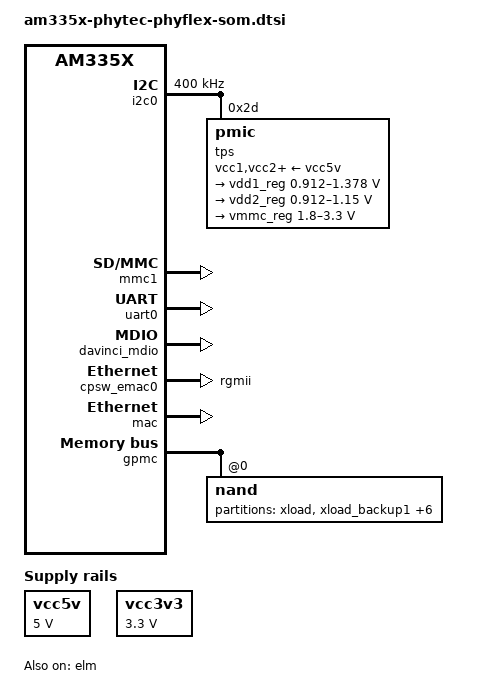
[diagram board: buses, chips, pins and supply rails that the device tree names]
/ {
	chosen {
		stdout-path = &uart0;

		environment-spi {
			compatible = "barebox,environment";
			device-path = &flash, "partname:bareboxenv";
			status = "disabled";
		};

		environment-nand {
			compatible = "barebox,environment";
			device-path = &nand, "partname:bareboxenv";
			status = "disabled";
		};
	};

	vcc5v: fixedregulator@0 {
		compatible = "regulator-fixed";
		regulator-name = "vcc5v";
		regulator-min-microvolt = <5000000>;
		regulator-max-microvolt = <5000000>;
		regulator-boot-on;
	};

	vcc3v3: fixedregulator@1 {
		compatible = "regulator-fixed";
		regulator-min-microvolt = <3300000>;
		regulator-max-microvolt = <3300000>;
		regulator-boot-on;
	};

};

&am33xx_pinmux {
	i2c0_pins: pinmux_i2c0_pins {
			pinctrl-single,pins = <
			0x188 (PIN_INPUT_PULLUP | MUX_MODE0)    /* i2c0_sda */
			0x18c (PIN_INPUT_PULLUP | MUX_MODE0)    /* i2c0_scl */
		>;
	};

	spi0_pins: pinmux_spi0_pins {
		pinctrl-single,pins = <
			0x150 (PIN_INPUT_PULLDOWN | MUX_MODE0)  /* spi0_clk.spi0_clk */
			0x154 (PIN_INPUT_PULLDOWN | MUX_MODE0)  /* spi0_d0.spi0_d0 */
			0x158 (PIN_INPUT_PULLUP | MUX_MODE0)    /* spi0_d1.spi0_d1 */
			0x15c (PIN_INPUT_PULLUP | MUX_MODE0)	/* spi0_cs0.spi0_cs0 */
		>;
	};

	uart0_pins: pinmux_uart0_pins {
		pinctrl-single,pins = <
			0x170 (PIN_INPUT_PULLUP | MUX_MODE0)    /* uart0_rxd */
			0x174 (PIN_OUTPUT_PULLDOWN | MUX_MODE0) /* uart0_txd */
		>;
	};

	mmc1_pins: pinmux_mmc1_pins {
		pinctrl-single,pins = <
			0x0f0 (PIN_INPUT_PULLUP | MUX_MODE0)	/* mmc0_dat3 */
			0x0f4 (PIN_INPUT_PULLUP | MUX_MODE0)	/* mmc0_dat2 */
			0x0f8 (PIN_INPUT_PULLUP | MUX_MODE0)	/* mmc0_dat1 */
			0x0fc (PIN_INPUT_PULLUP | MUX_MODE0)	/* mmc0_dat0 */
			0x100 (PIN_INPUT_PULLUP | MUX_MODE0)	/* mmc0_clk */
			0x104 (PIN_INPUT_PULLUP | MUX_MODE0)	/* mmc0_cmd */
		>;
	};

	emac_rgmii1_pins: pinmux_emac_rgmii1_pins {
		pinctrl-single,pins = <
			0x114 (PIN_OUTPUT_PULLDOWN | MUX_MODE2)	/* mii1_tx_en.rgmii1_tctl */
			0x118 (PIN_INPUT_PULLDOWN | MUX_MODE2)	/* mii1_rx_dv.rgmii1_rctl */
			0x11c (PIN_OUTPUT_PULLDOWN | MUX_MODE2)	/* mii1_txd3.rgmii1_td3 */
			0x120 (PIN_OUTPUT_PULLDOWN | MUX_MODE2)	/* mii1_txd2.rgmii1_td2 */
			0x124 (PIN_OUTPUT_PULLDOWN | MUX_MODE2)	/* mii1_txd1.rgmii1_td1 */
			0x128 (PIN_OUTPUT_PULLDOWN | MUX_MODE2)	/* mii1_txd0.rgmii1_td0 */
			0x12c (PIN_OUTPUT_PULLDOWN | MUX_MODE2)	/* mii1_tx_clk.rgmii1_tclk */
			0x130 (PIN_INPUT_PULLDOWN | MUX_MODE2)	/* mii1_rx_clk.rgmii1_rclk */
			0x134 (PIN_INPUT_PULLDOWN | MUX_MODE2)	/* mii1_rxd3.rgmii1_rd3 */
			0x138 (PIN_INPUT_PULLDOWN | MUX_MODE2)	/* mii1_rxd2.rgmii1_rd2 */
			0x13c (PIN_INPUT_PULLDOWN | MUX_MODE2)	/* mii1_rxd1.rgmii1_rd1 */
			0x140 (PIN_INPUT_PULLDOWN | MUX_MODE2)	/* mii1_rxd0.rgmii1_rd0 */
		>;
	};

	emac_rmii2_pins: pinmux_emac_rmii2_pins {
		pinctrl-single,pins = <
			0x040 (PIN_OUTPUT_PULLDOWN | MUX_MODE3)	/* gpmc_a0.rmii2_txen */
			0x050 (PIN_OUTPUT_PULLDOWN | MUX_MODE3)	/* gpmc_a4.rmii2_txd1 */
			0x054 (PIN_OUTPUT_PULLDOWN | MUX_MODE3)	/* gpmc_a5.rmii2_txd0 */
			0x068 (PIN_INPUT_PULLDOWN | MUX_MODE3)	/* gpmc_a10.rmii2_rxd1 */
			0x06c (PIN_INPUT_PULLDOWN | MUX_MODE3)	/* gpmc_a11.rmii2_rxd0 */
			0x074 (PIN_INPUT_PULLUP | MUX_MODE3)	/* gpmc_wpn.rmii2_rxer */
			0x108 (PIN_INPUT_PULLDOWN | MUX_MODE1)	/* mii1_col.rmii2_refclk */
		>;
	};

	davinci_mdio_default: davinci_mdio_default {
		pinctrl-single,pins = <
			0x148 (PIN_INPUT_PULLUP | SLEWCTRL_FAST | MUX_MODE0)	/* mdio_data */
			0x14c (PIN_OUTPUT_PULLUP | MUX_MODE0)			/* mdio_clk */
		>;
	};

	nandflash_pins_s0: nandflash_pins_s0 {
		pinctrl-single,pins = <
			0x000 (PIN_INPUT_PULLUP | MUX_MODE0)	/* gpmc_ad0 */
			0x004 (PIN_INPUT_PULLUP | MUX_MODE0)	/* gpmc_ad1 */
			0x008 (PIN_INPUT_PULLUP | MUX_MODE0)	/* gpmc_ad2 */
			0x00c (PIN_INPUT_PULLUP | MUX_MODE0)	/* gpmc_ad3 */
			0x010 (PIN_INPUT_PULLUP | MUX_MODE0)	/* gpmc_ad4 */
			0x014 (PIN_INPUT_PULLUP | MUX_MODE0)	/* gpmc_ad5 */
			0x018 (PIN_INPUT_PULLUP | MUX_MODE0)	/* gpmc_ad6 */
			0x01c (PIN_INPUT_PULLUP | MUX_MODE0)	/* gpmc_ad7 */
			0x070 (PIN_INPUT_PULLUP | MUX_MODE0)	/* gpmc_wait0 */
			0x07c (PIN_OUTPUT_PULLDOWN | MUX_MODE0)	/* gpmc_csn0 */
			0x090 (PIN_OUTPUT_PULLDOWN | MUX_MODE0)	/* gpmc_advn_ale */
			0x094 (PIN_OUTPUT_PULLDOWN | MUX_MODE0)	/* gpmc_oen_ren */
			0x098 (PIN_OUTPUT_PULLDOWN | MUX_MODE0)	/* gpmc_wen */
			0x09c (PIN_OUTPUT_PULLDOWN | MUX_MODE0)	/* gpmc_be0n_cle */
		>;
	};
};

&i2c0 {
	pinctrl-names = "default";
	pinctrl-0 = <&i2c0_pins>;
	status = "okay";
	clock-frequency = <400000>;

	tps: pmic@2d {
		reg = <0x2d>;
	};

	at24c32: eeprom@52 {
		compatible = "atmel,24c32";
		byte_len = <4096>;
		pagesize = <32>;
		reg = <0x52>;
		status = "disabled";
	};
};

&mmc1 {
	pinctrl-names = "default";
	pinctrl-0 = <&mmc1_pins>;
	status = "okay";
};

&spi0 {
	pinctrl-names = "default";
	pinctrl-0 = <&spi0_pins>;
	status = "disabled";
	flash: m25p80@0 {
		compatible = "m25p80";
		spi-max-frequency = <48000000>;
		reg = <0>;
		#address-cells = <1>;
		#size-cells = <1>;
		m25p,fast-read;

		partition@0 {
			label = "xload";
			reg = <0x0 0x20000>;
		};

		partition@20000 {
			label = "barebox";
			reg = <0x20000 0x80000>;
		};

		partition@a0000 {
			label = "bareboxenv";
			reg = <0xa0000 0x20000>;
		};

		partition@c0000 {
			label = "oftree";
			reg = <0xc0000 0x20000>;
                };

		partition@e0000 {
			label = "kernel";
			reg = <0xe0000 0x0>;
		};
	};
};

&uart0 {
	pinctrl-names = "default";
	pinctrl-0 = <&uart0_pins>;
	status = "okay";
};

&davinci_mdio {
	pinctrl-names = "default", "sleep";
	pinctrl-0 = <&davinci_mdio_default>;
	status = "okay";
};

&phy_sel {
	rmii-clock-ext;
};

&cpsw_emac0 {
	phy_id = <&davinci_mdio>, <1>;
	phy-mode = "rgmii";
	dual_emac_res_vlan = <1>;

	/* clock skew correction, maximum possible on KSZ9031 is
	2^5 - 1 * 0,06ns = 1860ps, micrel datasheet M9999-081712-0.11 p.58*/
	rxc-skew-ps = <1860>;
	txc-skew-ps = <1860>;

	/* align tx signals to zero, leave rx to default */
	txd0-skew-ps = <0>;
	txd1-skew-ps = <0>;
	txd2-skew-ps = <0>;
	txd3-skew-ps = <0>;
};

&cpsw_emac1 {
	phy_id = <&davinci_mdio>, <2>;
	phy-mode = "rmii";
	dual_emac_res_vlan = <2>;
	status = "disabled";
};

&mac {
	pinctrl-names = "default";
	slaves = <1>;
	pinctrl-0 = <&emac_rgmii1_pins>;
	status = "okay";
};

&elm {
	status = "okay";
};

&gpmc {
	status = "okay";
	pinctrl-names = "default";
	pinctrl-0 = <&nandflash_pins_s0>;
	ranges = <0 0 0x08000000 0x1000000>;	/* CS0: 16MB for NAND */
	nand: nand@0,0 {
		reg = <0 0 4>; /* CS0, offset 0, IO size 4  */
		nand-bus-width = <8>;
		ti,nand-ecc-opt = "bch8";
		gpmc,device-nand = "true";
		gpmc,device-width = <1>;
		gpmc,sync-clk-ps = <0>;
		gpmc,cs-on-ns = <0>;
		gpmc,cs-rd-off-ns = <30>;
		gpmc,cs-wr-off-ns = <30>;
		gpmc,adv-on-ns = <0>;
		gpmc,adv-rd-off-ns = <30>;
		gpmc,adv-wr-off-ns = <30>;
		gpmc,we-on-ns = <0>;
		gpmc,we-off-ns = <20>;
		gpmc,oe-on-ns = <10>;
		gpmc,oe-off-ns = <30>;
		gpmc,access-ns = <30>;
		gpmc,rd-cycle-ns = <30>;
		gpmc,wr-cycle-ns = <30>;
		gpmc,wait-pin = <1>;
		gpmc,wait-on-read = "true";
		gpmc,wait-on-write = "true";
		gpmc,bus-turnaround-ns = <0>;
		gpmc,cycle2cycle-delay-ns = <50>;
		gpmc,cycle2cycle-diffcsen;
		gpmc,clk-activation-ns = <0>;
		gpmc,wait-monitoring-ns = <0>;
		gpmc,wr-access-ns = <0>;
		gpmc,wr-data-mux-bus-ns = <0>;

		#address-cells = <1>;
		#size-cells = <1>;
		elm_id = <&elm>;

		partition@0 {
			label = "xload";
			reg = <0x0 0x20000>;
		};

		partition@20000 {
			label = "xload_backup1";
			reg = <0x20000 0x20000>;
		};

		partition@40000 {
			label = "xload_backup2";
			reg = <0x40000 0x20000>;
		};

		partition@60000 {
			label = "xload_backup3";
			reg = <0x60000 0x20000>;
		};

		partition@80000 {
			label = "barebox";
			reg = <0x80000 0x80000>;
		};

		partition@100000 {
			label = "barebox_backup";
			reg = <0x100000 0x80000>;
		};

		partition@180000 {
			label = "bareboxenv";
			reg = <0x180000 0x40000>;
		};

		partition@1C0000 {
			label = "root";
			/*
			 * Size 0x0 extends partition to
			 * end of nand flash.
			 */
			reg = <0x1C0000 0x0>;
		};
	};
};

/include/ "tps65217.dtsi"
&tps {
	vcc1-supply = <&vcc5v>;
	vcc2-supply = <&vcc5v>;
	vcc3-supply = <&vcc5v>;
	vcc4-supply = <&vcc5v>;
	vcc5-supply = <&vcc5v>;
	vcc6-supply = <&vcc5v>;
	vcc7-supply = <&vcc5v>;
	vccio-supply = <&vcc5v>;

	regulators {
		vdd1_reg: regulator@2 {
			/* VDD_MPU voltage limits 0.95V - 1.325V with +/-4% tolerance */
			regulator-name = "vdd_mpu";
			regulator-min-microvolt = <912500>;
			regulator-max-microvolt = <1378000>;
			regulator-boot-on;
			regulator-always-on;
		};

		vdd2_reg: regulator@3 {
			/* VDD_CORE voltage limits 0.95V - 1.1V with +/-4% tolerance */
			regulator-name = "vdd_core";
			regulator-min-microvolt = <912500>;
			regulator-max-microvolt = <1150000>;
			regulator-boot-on;
			regulator-always-on;
		};

		vmmc_reg: regulator@12 {
			regulator-min-microvolt = <1800000>;
			regulator-max-microvolt = <3300000>;
		};

	};
};
